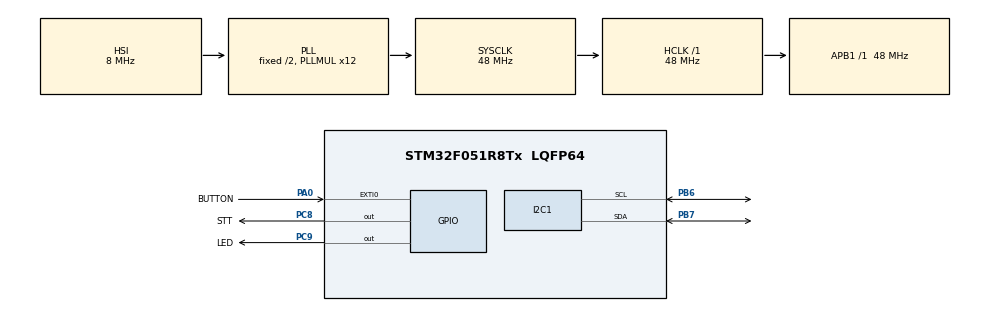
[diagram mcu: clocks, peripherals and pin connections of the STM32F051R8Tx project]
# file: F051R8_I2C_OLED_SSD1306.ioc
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Mcu.Family=STM32F0
Dma.I2C1_TX.0.Instance=DMA1_Channel2
PC9.GPIO_Label=LED
Dma.I2C1_TX.0.PeriphDataAlignment=DMA_PDATAALIGN_BYTE
Dma.I2C1_TX.0.Direction=DMA_MEMORY_TO_PERIPH
PA14.GPIO_Label=SWCLK
PA0.GPIO_Label=BUTTON
PC8.Signal=GPIO_Output
RCC.SYSCLKSource=RCC_SYSCLKSOURCE_PLLCLK
ProjectManager.StackSize=0x400
NVIC.I2C1_IRQn=true\:0\:0\:false\:false\:true\:true\:true
PC8.GPIO_Label=STT
PA13.Signal=SYS_SWDIO
ProjectManager.TargetToolchain=STM32CubeIDE
RCC.HCLKFreq_Value=48000000
PB6.Signal=I2C1_SCL
PB6.Mode=I2C
Dma.I2C1_TX.0.Priority=DMA_PRIORITY_LOW
RCC.AHBFreq_Value=48000000
board=STM32F0DISCOVERY
RCC.PLLMUL=RCC_PLL_MUL12
PA14.Mode=Serial_Wire
PA0.GPIO_ModeDefaultEXTI=GPIO_MODE_EVT_RISING
Dma.I2C1_TX.0.MemInc=DMA_MINC_ENABLE
PB7.Signal=I2C1_SDA
PA13.Mode=Serial_Wire
Mcu.Name=STM32F051R8Tx
PA13.GPIO_Label=SWDIO
PA0.Signal=GPXTI0
RCC.SYSCLKFreq_VALUE=48000000
Dma.I2C1_TX.0.PeriphInc=DMA_PINC_DISABLE
Mcu.Package=LQFP64
PB7.Mode=I2C
PA14.Signal=SYS_SWCLK
ProjectManager.HeapSize=0x200
Dma.I2C1_TX.0.MemDataAlignment=DMA_MDATAALIGN_BYTE
NVIC.DMA1_Channel2_3_IRQn=true\:0\:0\:false\:false\:true\:false\:true
RCC.APB1TimFreq_Value=48000000
Dma.I2C1_TX.0.Mode=DMA_NORMAL
PC9.Signal=GPIO_Output
Dma.Request0=I2C1_TX
RCC.APB1Freq_Value=48000000

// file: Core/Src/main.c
/* USER CODE BEGIN Header */
/**
  ******************************************************************************
  * @file           : main.c
  * @brief          : Main program body
  ******************************************************************************
  * @attention
  *
  * <h2><center>&copy; Copyright (c) 2021 STMicroelectronics.
  * All rights reserved.</center></h2>
  *
  * This software component is licensed by ST under BSD 3-Clause license,
  * the "License"; You may not use this file except in compliance with the
  * License. You may obtain a copy of the License at:
  *                        opensource.org/licenses/BSD-3-Clause
  *
  ******************************************************************************
  */
/* USER CODE END Header */
#include "main.h"

/* USER CODE BEGIN Includes */
#include <stdio.h>
#include <string.h>
#include "ssd1306.h"
#include "test_ssd1306.h"
/* USER CODE END Includes */

/* USER CODE BEGIN PD */
#define USE_I2C_POLLING
//#define USE_I2C_IT
//#define USE_I2C_DMA
/* USER CODE END PD */

I2C_HandleTypeDef hi2c1;
DMA_HandleTypeDef hdma_i2c1_tx;

/* USER CODE BEGIN PV */
char message[16]; // xxx\0
char fps[] = "fps";

// 'Frame1', 80x32px
const unsigned char Frame1 [] = {
  0x00, 0x00, 0x00, 0x00, 0x00, 0x00, 0x00, 0x00, 0x00, 0x00, 0x00, 0x00, 0x00, 0x00, 0x00, 0x00,
  0x00, 0x00, 0x00, 0x00, 0x00, 0x00, 0x00, 0x00, 0x00, 0x00, 0x00, 0x00, 0x00, 0x00, 0x00, 0x00,
  0x00, 0x00, 0x00, 0x00, 0x00, 0x00, 0x00, 0x00, 0x00, 0x00, 0x00, 0x00, 0x00, 0x00, 0x00, 0x00,
  0x00, 0x00, 0x00, 0x00, 0x00, 0x00, 0x00, 0x00, 0x00, 0x00, 0x00, 0x00, 0x00, 0x00, 0x00, 0x00,
  0x00, 0x00, 0x00, 0x00, 0x00, 0x00, 0x00, 0x00, 0x00, 0x00, 0x00, 0x00, 0x00, 0x00, 0x00, 0x00,
  0x00, 0xff, 0xc0, 0x00, 0x00, 0x00, 0x00, 0x00, 0x00, 0x00, 0x00, 0x00, 0xf8, 0x00, 0x00, 0x00,
  0x00, 0xfe, 0x00, 0x00, 0x00, 0x00, 0x1e, 0x00, 0x00, 0x00, 0x01, 0x83, 0x80, 0x00, 0x00, 0x00,
  0x07, 0x00, 0x00, 0x00, 0x03, 0x00, 0xc0, 0x00, 0x00, 0x00, 0x01, 0xc0, 0x00, 0x00, 0x03, 0x0c,
  0x40, 0x00, 0x00, 0x00, 0x00, 0xff, 0xff, 0xff, 0xe1, 0x0c, 0x60, 0x00, 0x00, 0x00, 0x00, 0xf0,
  0x00, 0x1f, 0xff, 0x80, 0x20, 0x00, 0x00, 0x00, 0x01, 0xe0, 0x00, 0x01, 0xf9, 0xe0, 0x20, 0x00,
  0x00, 0x00, 0x03, 0xc0, 0x00, 0x00, 0xcc, 0x78, 0x60, 0x00, 0x00, 0x03, 0xe7, 0x80, 0x00, 0x00,
  0x64, 0x1f, 0xc0, 0x00, 0x00, 0x0e, 0xff, 0x00, 0x00, 0x00, 0x66, 0x00, 0x00, 0x00, 0x00, 0x1c,
  0x0e, 0x00, 0x00, 0x00, 0x33, 0xf0, 0x00, 0x00, 0x00, 0x30, 0xf8, 0x00, 0x00, 0x00, 0x18, 0x1f,
  0xf0, 0x00, 0x00, 0x7f, 0xf0, 0x00, 0x00, 0x00, 0x08, 0x00, 0x00, 0x00, 0x01, 0xfc, 0x00, 0x00,
  0x00, 0x00, 0x0c, 0x00, 0x00, 0x00, 0x03, 0x80, 0x00, 0x00, 0x00, 0x00, 0x06, 0x00, 0x00, 0x00,
  0x07, 0x00, 0x00, 0x00, 0x00, 0x00, 0x03, 0x00, 0x00, 0x00, 0x0e, 0x00, 0x00, 0x00, 0x00, 0x00,
  0x01, 0x86, 0x00, 0x00, 0x0c, 0x00, 0x00, 0x00, 0x00, 0x00, 0x00, 0xcc, 0x00, 0x00, 0x00, 0x00,
  0x00, 0x00, 0x00, 0x00, 0x00, 0x78, 0x00, 0x00, 0x00, 0x00, 0x00, 0x00, 0x00, 0x00, 0x00, 0x00,
  0x00, 0x00, 0x00, 0x00, 0x00, 0x00, 0x00, 0x00, 0x00, 0x00, 0x00, 0x00, 0x00, 0x00, 0x00, 0x00,
  0x00, 0x00, 0x00, 0x00, 0x00, 0x00, 0x00, 0x00, 0x00, 0x00, 0x00, 0x00, 0x00, 0x00, 0x00, 0x00
};
// 'Frame2', 80x32px
const unsigned char Frame2 [] = {
  0x00, 0x00, 0x00, 0x00, 0x00, 0x00, 0x00, 0x00, 0x00, 0x00, 0x00, 0x00, 0x00, 0x00, 0x00, 0x00,
  0x00, 0x00, 0x00, 0x00, 0x00, 0x00, 0x00, 0x00, 0x00, 0x00, 0x00, 0x00, 0x00, 0x00, 0x00, 0x00,
  0x00, 0x00, 0x00, 0x00, 0x00, 0x00, 0x00, 0x00, 0x00, 0x00, 0x00, 0x00, 0x00, 0x00, 0x00, 0x00,
  0x00, 0x00, 0x00, 0x00, 0x00, 0x00, 0x00, 0x00, 0x00, 0x00, 0x00, 0x00, 0x00, 0x00, 0x00, 0x00,
  0x00, 0x00, 0x00, 0x00, 0x00, 0x00, 0x00, 0x3f, 0xc0, 0x00, 0x00, 0x00, 0x00, 0x00, 0x00, 0x00,
  0x00, 0x70, 0xf8, 0x00, 0x00, 0x00, 0x00, 0x00, 0x00, 0x00, 0x00, 0x00, 0x3c, 0x00, 0x00, 0x00,
  0x00, 0x00, 0x00, 0x00, 0x00, 0x00, 0x0e, 0x00, 0x00, 0x00, 0x03, 0x80, 0x00, 0x00, 0x00, 0x00,
  0x03, 0x80, 0x00, 0x00, 0x0f, 0xf0, 0x00, 0x00, 0x00, 0x00, 0x01, 0xc0, 0x00, 0x00, 0x08, 0x18,
  0x00, 0x00, 0x00, 0x00, 0x00, 0xe0, 0x00, 0x00, 0x18, 0x0c, 0x00, 0x00, 0x00, 0x00, 0x00, 0xfe,
  0x00, 0x00, 0x18, 0x66, 0x00, 0x00, 0x00, 0x00, 0x00, 0xdf, 0xf8, 0x00, 0x08, 0x66, 0x00, 0x00,
  0x00, 0x00, 0x01, 0xb8, 0xff, 0xff, 0xfc, 0x02, 0x00, 0x00, 0x00, 0x00, 0x01, 0xb0, 0x01, 0xfe,
  0x06, 0x02, 0x00, 0x00, 0x00, 0x00, 0x03, 0x60, 0x00, 0x32, 0x03, 0x86, 0x00, 0x00, 0x00, 0x03,
  0xff, 0xc0, 0x00, 0x33, 0x80, 0xfc, 0x00, 0x00, 0x00, 0x07, 0x07, 0x80, 0x00, 0x10, 0xe0, 0x01,
  0x00, 0x00, 0x00, 0x7f, 0xff, 0x00, 0x00, 0x10, 0x38, 0x03, 0x00, 0x00, 0x00, 0x7f, 0xfe, 0x00,
  0x00, 0x18, 0x0f, 0x86, 0x00, 0x00, 0x00, 0xc8, 0x00, 0x00, 0x00, 0x08, 0x00, 0xfc, 0x00, 0x00,
  0x01, 0x80, 0x00, 0x00, 0x00, 0x08, 0x00, 0x00, 0x00, 0x00, 0x03, 0x00, 0x00, 0x00, 0x00, 0x0c,
  0x00, 0x00, 0x00, 0x00, 0x02, 0x00, 0x00, 0x00, 0x00, 0x04, 0x00, 0x00, 0x00, 0x00, 0x00, 0x00,
  0x00, 0x00, 0x00, 0x06, 0x00, 0x00, 0x00, 0x00, 0x00, 0x00, 0x00, 0x00, 0x00, 0x02, 0x00, 0x00,
  0x00, 0x00, 0x00, 0x00, 0x00, 0x00, 0x00, 0x03, 0x06, 0x00, 0x00, 0x00, 0x00, 0x00, 0x00, 0x00,
  0x00, 0x01, 0x8c, 0x00, 0x00, 0x00, 0x00, 0x00, 0x00, 0x00, 0x00, 0x00, 0xf8, 0x00, 0x00, 0x00
};
// 'Frame3', 80x32px
const unsigned char Frame3 [] = {
  0x00, 0x00, 0x00, 0x00, 0x00, 0x00, 0x00, 0x00, 0x00, 0x00, 0x00, 0x00, 0x00, 0x00, 0x00, 0x00,
  0x00, 0x00, 0x00, 0x00, 0x00, 0x00, 0x00, 0x00, 0x00, 0x00, 0x00, 0x00, 0x00, 0x00, 0x00, 0x00,
  0x00, 0x00, 0x00, 0x00, 0x00, 0x00, 0x00, 0x00, 0x00, 0x00, 0x00, 0x00, 0x00, 0x00, 0x00, 0x00,
  0x00, 0x00, 0x00, 0x00, 0x00, 0x00, 0x00, 0x00, 0x00, 0x00, 0x00, 0x00, 0x00, 0x00, 0xfe, 0x00,
  0x00, 0x00, 0x00, 0x00, 0x00, 0x00, 0x00, 0x00, 0x0f, 0x80, 0x00, 0x00, 0x00, 0x00, 0x00, 0x00,
  0x00, 0x00, 0x01, 0xe0, 0x00, 0x00, 0x00, 0x00, 0x00, 0x00, 0x00, 0x00, 0x00, 0x70, 0x00, 0x00,
  0x00, 0x00, 0x00, 0x00, 0x00, 0x00, 0x00, 0x3c, 0x00, 0x00, 0x00, 0x00, 0x00, 0x00, 0x00, 0x00,
  0x00, 0x0e, 0x00, 0x00, 0x07, 0xc0, 0x00, 0x00, 0x00, 0x00, 0x00, 0x07, 0x80, 0x00, 0x0c, 0x30,
  0x00, 0x00, 0x00, 0x00, 0x00, 0x03, 0xc0, 0x00, 0x10, 0x08, 0x00, 0x00, 0x00, 0x00, 0x00, 0x02,
  0xf0, 0x00, 0x10, 0x04, 0x00, 0x00, 0x00, 0x00, 0x00, 0x02, 0xbe, 0x00, 0x18, 0x66, 0x00, 0x00,
  0x00, 0x00, 0x00, 0x07, 0x87, 0xc0, 0x08, 0x62, 0x00, 0x00, 0x00, 0x00, 0x00, 0x05, 0x00, 0xff,
  0xfc, 0x02, 0x00, 0x00, 0x00, 0x00, 0x00, 0x05, 0x00, 0x1f, 0x06, 0x02, 0x00, 0x00, 0x00, 0x00,
  0x00, 0x0e, 0x00, 0x09, 0x03, 0x86, 0x00, 0x00, 0x00, 0x00, 0x3f, 0xfe, 0x00, 0x09, 0x00, 0xfc,
  0x00, 0x00, 0x00, 0x00, 0x6f, 0xfc, 0x00, 0x19, 0x80, 0x00, 0x00, 0x00, 0x00, 0x00, 0x58, 0x00,
  0x00, 0x10, 0x80, 0x00, 0x00, 0x00, 0x00, 0x00, 0xe0, 0x00, 0x00, 0x10, 0x80, 0x00, 0x00, 0x00,
  0x00, 0x00, 0xc0, 0x00, 0x00, 0x30, 0xc0, 0x00, 0x00, 0x00, 0x00, 0x01, 0x80, 0x00, 0x00, 0x20,
  0x70, 0x00, 0x00, 0x00, 0x00, 0x00, 0x00, 0x00, 0x00, 0x20, 0x1c, 0x60, 0x00, 0x00, 0x00, 0x00,
  0x00, 0x00, 0x00, 0x60, 0x07, 0xc0, 0x00, 0x00, 0x00, 0x00, 0x00, 0x00, 0x00, 0x40, 0x00, 0x00,
  0x00, 0x00, 0x00, 0x00, 0x00, 0x00, 0x00, 0x40, 0x00, 0x00, 0x00, 0x00, 0x00, 0x00, 0x00, 0x00,
  0x00, 0x6e, 0x00, 0x00, 0x00, 0x00, 0x00, 0x00, 0x00, 0x00, 0x00, 0x30, 0x00, 0x00, 0x00, 0x00
};
// 'Frame4', 80x32px
const unsigned char Frame4 [] = {
  0x00, 0x00, 0x00, 0x00, 0x00, 0x00, 0x00, 0x00, 0x00, 0x00, 0x00, 0x00, 0x00, 0x00, 0x00, 0x00,
  0x00, 0x00, 0x00, 0x00, 0x00, 0x00, 0x00, 0x00, 0x00, 0x00, 0x00, 0x00, 0x00, 0x00, 0x00, 0x00,
  0x00, 0x00, 0x00, 0x00, 0x00, 0x00, 0x00, 0x00, 0x00, 0x00, 0x00, 0x00, 0x00, 0x00, 0x00, 0x00,
  0x00, 0x00, 0x00, 0x00, 0x00, 0x00, 0x00, 0x00, 0x00, 0x00, 0x00, 0x00, 0x00, 0x00, 0x00, 0x00,
  0x00, 0x00, 0x00, 0x00, 0x00, 0x00, 0x00, 0x00, 0x03, 0x80, 0x00, 0x00, 0x00, 0x00, 0x00, 0x00,
  0x00, 0x00, 0x01, 0x80, 0x00, 0x00, 0x00, 0x00, 0x00, 0x00, 0x00, 0x00, 0x00, 0xe0, 0x00, 0x00,
  0x00, 0x00, 0x00, 0x00, 0x00, 0x00, 0x00, 0x38, 0x00, 0x00, 0x00, 0x00, 0x00, 0x00, 0x00, 0x00,
  0x00, 0x0e, 0x00, 0x00, 0x00, 0x00, 0x00, 0x00, 0x00, 0x00, 0x00, 0x03, 0x80, 0x00, 0x07, 0xe0,
  0x00, 0x00, 0x00, 0x00, 0x00, 0x00, 0xf0, 0x00, 0x0c, 0x38, 0x00, 0x00, 0x00, 0x00, 0x00, 0x00,
  0x3f, 0x00, 0x18, 0x0c, 0x00, 0x00, 0x00, 0x00, 0x00, 0x00, 0x0f, 0xe0, 0x10, 0x66, 0x00, 0x00,
  0x00, 0x00, 0x00, 0x00, 0x0c, 0x3e, 0x10, 0x62, 0x00, 0x00, 0x00, 0x00, 0x00, 0x00, 0x0c, 0x07,
  0xf0, 0x02, 0x00, 0x00, 0x00, 0x00, 0x00, 0x00, 0x0e, 0x00, 0xd8, 0x02, 0x00, 0x00, 0x00, 0x00,
  0x00, 0x00, 0x0a, 0x03, 0xce, 0x06, 0x00, 0x00, 0x00, 0x00, 0x00, 0x00, 0x0a, 0x06, 0x83, 0x84,
  0x00, 0x00, 0x00, 0x00, 0x00, 0x00, 0x7e, 0x0d, 0x80, 0x78, 0x00, 0x00, 0x00, 0x00, 0x00, 0x01,
  0xcc, 0x39, 0x00, 0x00, 0x00, 0x00, 0x00, 0x00, 0x00, 0x03, 0xf8, 0x61, 0x00, 0x00, 0x00, 0x00,
  0x00, 0x00, 0x00, 0x0f, 0x80, 0xc3, 0x00, 0x00, 0x00, 0x00, 0x00, 0x00, 0x00, 0x09, 0x03, 0x82,
  0x00, 0x00, 0x00, 0x00, 0x00, 0x00, 0x00, 0x00, 0x06, 0x02, 0x00, 0x00, 0x00, 0x00, 0x00, 0x00,
  0x00, 0x00, 0x0c, 0x02, 0x00, 0x00, 0x00, 0x00, 0x00, 0x00, 0x00, 0x00, 0x38, 0x02, 0x00, 0x00,
  0x00, 0x00, 0x00, 0x00, 0x00, 0x00, 0x70, 0x03, 0x00, 0x00, 0x00, 0x00, 0x00, 0x00, 0x00, 0x00,
  0x60, 0x01, 0x80, 0x00, 0x00, 0x00, 0x00, 0x00, 0x00, 0x00, 0x78, 0x00, 0xe0, 0x00, 0x00, 0x00
};
// 'Frame5', 80x32px
const unsigned char Frame5 [] = {
  0x00, 0x00, 0x00, 0x00, 0x00, 0x00, 0x00, 0x00, 0x00, 0x00, 0x00, 0x00, 0x00, 0x00, 0x00, 0x00,
  0x00, 0x00, 0x00, 0x00, 0x00, 0x00, 0x00, 0x00, 0x00, 0x00, 0x00, 0x00, 0x00, 0x00, 0x00, 0x00,
  0x00, 0x00, 0x00, 0x00, 0x00, 0x00, 0x00, 0x00, 0x00, 0x00, 0x00, 0x00, 0x00, 0x00, 0x00, 0x00,
  0x00, 0x00, 0x00, 0x00, 0x00, 0x00, 0x00, 0x00, 0x00, 0x00, 0x00, 0x00, 0x00, 0x00, 0x00, 0x00,
  0x00, 0x00, 0x00, 0x00, 0x00, 0x00, 0x00, 0x00, 0x00, 0x00, 0x00, 0x00, 0x00, 0x00, 0x00, 0x00,
  0x00, 0x00, 0x00, 0x00, 0x00, 0x00, 0x00, 0x00, 0x00, 0x00, 0x00, 0x00, 0x00, 0x00, 0x00, 0x00,
  0x00, 0x00, 0x00, 0x00, 0x00, 0x00, 0x00, 0x00, 0x00, 0x00, 0x00, 0x00, 0x00, 0x00, 0x00, 0x00,
  0x00, 0x00, 0x00, 0x00, 0x00, 0x00, 0x00, 0x00, 0x00, 0x00, 0x08, 0x00, 0x00, 0x00, 0x03, 0xf8,
  0x00, 0x00, 0x00, 0x00, 0x0c, 0x00, 0x00, 0xff, 0x0c, 0x06, 0x00, 0x00, 0x00, 0x00, 0x04, 0x00,
  0x03, 0x83, 0xc8, 0x03, 0x00, 0x00, 0x00, 0x00, 0x03, 0x00, 0x06, 0x00, 0xf8, 0x19, 0x00, 0x00,
  0x00, 0x00, 0x01, 0xc0, 0x0c, 0x00, 0xd8, 0x19, 0x80, 0x00, 0x00, 0x00, 0x00, 0x70, 0x18, 0x00,
  0x88, 0x00, 0x80, 0x00, 0x00, 0x00, 0x00, 0x1f, 0xf8, 0x00, 0x8e, 0x00, 0x80, 0x00, 0x00, 0x00,
  0x00, 0x00, 0x1c, 0x01, 0x83, 0x07, 0x00, 0x00, 0x00, 0x00, 0x00, 0x00, 0x0f, 0x01, 0x00, 0xfc,
  0x00, 0x00, 0x00, 0x00, 0x00, 0x00, 0x07, 0xc7, 0x00, 0x00, 0x00, 0x00, 0x00, 0x00, 0x00, 0x00,
  0x02, 0x5e, 0x00, 0x00, 0x00, 0x00, 0x00, 0x00, 0x00, 0x00, 0x03, 0x56, 0x00, 0x00, 0x00, 0x00,
  0x00, 0x00, 0x00, 0x00, 0x01, 0x76, 0x00, 0x00, 0x00, 0x00, 0x00, 0x00, 0x00, 0x00, 0x01, 0xe4,
  0x00, 0x00, 0x00, 0x00, 0x00, 0x00, 0x00, 0x00, 0x01, 0x8c, 0x00, 0x00, 0x00, 0x00, 0x00, 0x00,
  0x00, 0x00, 0x03, 0x08, 0x00, 0x00, 0x00, 0x00, 0x00, 0x00, 0x00, 0x00, 0x06, 0x08, 0x00, 0x00,
  0x00, 0x00, 0x00, 0x00, 0x00, 0x00, 0x04, 0x08, 0x00, 0x00, 0x00, 0x00, 0x00, 0x00, 0x00, 0x00,
  0x0c, 0x08, 0x00, 0x00, 0x00, 0x00, 0x00, 0x00, 0x00, 0x00, 0x08, 0x00, 0x00, 0x00, 0x00, 0x00
};
// 'Frame6', 80x32px
const unsigned char Frame6 [] = {
  0x00, 0x00, 0x00, 0x00, 0x00, 0x00, 0x00, 0x00, 0x00, 0x00, 0x00, 0x00, 0x00, 0x00, 0x00, 0x00,
  0x00, 0x00, 0x00, 0x00, 0x00, 0x00, 0x00, 0x00, 0x00, 0x00, 0x00, 0x00, 0x00, 0x00, 0x00, 0x00,
  0x00, 0x00, 0x00, 0x00, 0x00, 0x00, 0x00, 0x00, 0x00, 0x00, 0x00, 0x00, 0x00, 0x00, 0x00, 0x00,
  0x00, 0x00, 0x00, 0x00, 0x00, 0x00, 0x00, 0x00, 0x00, 0x00, 0x00, 0x00, 0x00, 0x00, 0x00, 0x00,
  0x00, 0x00, 0x00, 0x00, 0x00, 0x00, 0x00, 0x00, 0x00, 0x00, 0x00, 0x00, 0x00, 0x00, 0x00, 0x00,
  0x00, 0x00, 0x00, 0x00, 0x3f, 0x00, 0x00, 0x00, 0x00, 0x00, 0x00, 0x00, 0x00, 0x00, 0x61, 0xc0,
  0x00, 0x00, 0x00, 0x00, 0x00, 0x00, 0x00, 0x00, 0x80, 0x60, 0x00, 0x00, 0x00, 0x00, 0x00, 0x00,
  0x00, 0x01, 0x00, 0x30, 0xff, 0x00, 0x00, 0x00, 0x00, 0x00, 0x00, 0x02, 0x00, 0x19, 0x81, 0xc0,
  0x00, 0x00, 0x00, 0x00, 0x00, 0x02, 0x00, 0x1f, 0x00, 0x60, 0x00, 0x00, 0x00, 0x00, 0x00, 0x06,
  0x00, 0x7e, 0x06, 0x20, 0x00, 0x00, 0x00, 0x00, 0x00, 0x04, 0x00, 0xd2, 0x06, 0x20, 0x00, 0x00,
  0x00, 0x10, 0x00, 0x08, 0x01, 0x92, 0x00, 0x60, 0x00, 0x00, 0x00, 0x10, 0x00, 0x08, 0x01, 0x33,
  0x00, 0xc0, 0x00, 0x00, 0x00, 0x18, 0x00, 0x18, 0x03, 0x61, 0xe3, 0x00, 0x00, 0x00, 0x00, 0x0c,
  0x00, 0x10, 0x03, 0xc0, 0x3c, 0x00, 0x00, 0x00, 0x00, 0x06, 0x00, 0x1f, 0x86, 0xc0, 0x00, 0x00,
  0x00, 0x00, 0x00, 0x03, 0x00, 0x7c, 0xfe, 0x80, 0x00, 0x00, 0x00, 0x00, 0x00, 0x01, 0xc1, 0xc7,
  0xe5, 0x80, 0x00, 0x00, 0x00, 0x00, 0x00, 0x00, 0x7f, 0x80, 0x3f, 0x00, 0x00, 0x00, 0x00, 0x00,
  0x00, 0x00, 0x00, 0x00, 0x1b, 0x99, 0x00, 0x00, 0x00, 0x00, 0x00, 0x00, 0x00, 0x00, 0x3e, 0xf3,
  0x00, 0x00, 0x00, 0x00, 0x00, 0x00, 0x00, 0x00, 0x37, 0xc6, 0x00, 0x00, 0x00, 0x00, 0x00, 0x00,
  0x00, 0x00, 0xdb, 0xec, 0x00, 0x00, 0x00, 0x00, 0x00, 0x00, 0x00, 0x00, 0xf0, 0xb8, 0x00, 0x00,
  0x00, 0x00, 0x00, 0x00, 0x00, 0x01, 0x60, 0x00, 0x00, 0x00, 0x00, 0x00, 0x00, 0x00, 0x00, 0x03,
  0x40, 0x00, 0x00, 0x00, 0x00, 0x00, 0x00, 0x00, 0x00, 0x03, 0x80, 0x00, 0x00, 0x00, 0x00, 0x00
};
// 'Frame7', 80x32px
const unsigned char Frame7 [] = {
  0x00, 0x00, 0x00, 0x00, 0x00, 0x00, 0x00, 0x00, 0x00, 0x00, 0x00, 0x00, 0x00, 0x00, 0x00, 0x00,
  0x00, 0x00, 0x00, 0x00, 0x00, 0x00, 0x00, 0x00, 0x00, 0x00, 0x00, 0x00, 0x00, 0x00, 0x00, 0x00,
  0x00, 0x00, 0x00, 0x00, 0x00, 0x00, 0x00, 0x00, 0x00, 0x00, 0x00, 0x00, 0x00, 0x00, 0x00, 0x00,
  0x00, 0x00, 0x00, 0x00, 0x00, 0x00, 0x00, 0x00, 0x00, 0x00, 0x00, 0x00, 0x00, 0x00, 0x00, 0x00,
  0x00, 0x00, 0x00, 0x00, 0x00, 0x00, 0x00, 0x00, 0x00, 0x00, 0x00, 0x00, 0x00, 0x00, 0x00, 0x00,
  0x00, 0x00, 0x00, 0x00, 0x00, 0x00, 0x00, 0x00, 0x00, 0x00, 0x00, 0x00, 0x00, 0x00, 0x00, 0x3f,
  0xe0, 0x7f, 0x80, 0x00, 0x00, 0x00, 0x00, 0x00, 0x00, 0xe0, 0x79, 0x80, 0x40, 0x00, 0x00, 0x00,
  0x00, 0x00, 0x01, 0xc0, 0x1d, 0x00, 0x20, 0x00, 0x00, 0x00, 0x00, 0x00, 0x03, 0x00, 0x3f, 0x03,
  0x10, 0x00, 0x00, 0x00, 0x00, 0x00, 0x06, 0x00, 0x67, 0x03, 0x10, 0x00, 0x00, 0x00, 0x00, 0x00,
  0x0c, 0x00, 0xc5, 0x80, 0x10, 0x00, 0x00, 0x00, 0x00, 0x00, 0x08, 0x01, 0x84, 0xc0, 0x60, 0x00,
  0x00, 0x00, 0x00, 0x00, 0x18, 0x03, 0x04, 0x7f, 0x80, 0x00, 0x00, 0x00, 0x00, 0x00, 0x30, 0x02,
  0x04, 0x00, 0x00, 0x00, 0x00, 0x00, 0xc0, 0x00, 0x30, 0x01, 0x04, 0x00, 0x00, 0x00, 0x00, 0x00,
  0x70, 0x00, 0xf0, 0x01, 0x04, 0x00, 0x00, 0x00, 0x00, 0x00, 0x1f, 0x0f, 0xfc, 0x01, 0x8c, 0x00,
  0x00, 0x00, 0x00, 0x00, 0x01, 0xf8, 0x3e, 0x00, 0x88, 0x00, 0x00, 0x00, 0x00, 0x00, 0x00, 0x00,
  0x37, 0x00, 0x98, 0x00, 0x00, 0x00, 0x00, 0x00, 0x00, 0x00, 0x21, 0x03, 0x10, 0x00, 0x00, 0x00,
  0x00, 0x00, 0x00, 0x00, 0x21, 0x86, 0x60, 0x00, 0x00, 0x00, 0x00, 0x00, 0x00, 0x00, 0x20, 0xc0,
  0xc0, 0x00, 0x00, 0x00, 0x00, 0x00, 0x00, 0x00, 0x30, 0x43, 0x80, 0x00, 0x00, 0x00, 0x00, 0x00,
  0x00, 0x00, 0x13, 0x60, 0x00, 0x00, 0x00, 0x00, 0x00, 0x00, 0x00, 0x00, 0x0e, 0x32, 0x00, 0x00,
  0x00, 0x00, 0x00, 0x00, 0x00, 0x00, 0x00, 0x1c, 0x00, 0x00, 0x00, 0x00, 0x00, 0x00, 0x00, 0x00,
  0x00, 0x00, 0x00, 0x00, 0x00, 0x00, 0x00, 0x00, 0x00, 0x00, 0x00, 0x00, 0x00, 0x00, 0x00, 0x00
};
// 'Frame8', 80x32px
const unsigned char Frame8 [] = {
  0x00, 0x00, 0x00, 0x00, 0x00, 0x00, 0x00, 0x00, 0x00, 0x00, 0x00, 0x00, 0x00, 0x00, 0x00, 0x00,
  0x00, 0x00, 0x00, 0x00, 0x00, 0x00, 0x00, 0x00, 0x00, 0x00, 0x00, 0x00, 0x00, 0x00, 0x00, 0x00,
  0x00, 0x00, 0x00, 0x00, 0x00, 0x00, 0x00, 0x00, 0x00, 0x00, 0x00, 0x00, 0x00, 0x00, 0x00, 0x00,
  0x00, 0x00, 0x00, 0x00, 0x00, 0x00, 0x00, 0x00, 0x00, 0x07, 0xf0, 0x00, 0x00, 0x00, 0x00, 0x00,
  0x00, 0x00, 0x00, 0x08, 0x0c, 0x00, 0x00, 0x00, 0x00, 0x00, 0x00, 0x00, 0x00, 0x18, 0x06, 0x00,
  0x00, 0x00, 0x00, 0x00, 0x00, 0x00, 0x00, 0x10, 0x62, 0x00, 0x00, 0x00, 0x00, 0x00, 0x00, 0x00,
  0xff, 0xf0, 0x61, 0x00, 0x00, 0x00, 0x00, 0x00, 0x00, 0x03, 0xe3, 0x30, 0x03, 0x00, 0x00, 0x00,
  0x00, 0x00, 0x00, 0x1f, 0x04, 0x18, 0x02, 0x00, 0x00, 0x00, 0x00, 0x00, 0x00, 0x70, 0x18, 0x1f,
  0xfc, 0x00, 0x00, 0x00, 0x00, 0x00, 0x01, 0xc0, 0x60, 0x06, 0x00, 0x00, 0x00, 0x00, 0x00, 0x00,
  0x0f, 0x00, 0xc0, 0x01, 0x80, 0x00, 0x00, 0x00, 0x00, 0x00, 0x0c, 0x00, 0xe0, 0x00, 0x80, 0x00,
  0x00, 0x00, 0x03, 0xff, 0xf8, 0x00, 0x38, 0x01, 0x80, 0x00, 0x00, 0x00, 0x1e, 0x00, 0xf0, 0x00,
  0x1e, 0x01, 0x00, 0x00, 0x00, 0x00, 0x78, 0x01, 0xf0, 0x00, 0x03, 0xc3, 0x00, 0x00, 0x00, 0x00,
  0xc0, 0x03, 0x30, 0x00, 0x00, 0x82, 0x00, 0x00, 0x00, 0x00, 0x00, 0x06, 0x30, 0x00, 0x01, 0x02,
  0x00, 0x00, 0x00, 0x00, 0x00, 0x0c, 0x20, 0x00, 0x06, 0x00, 0x00, 0x00, 0x00, 0x00, 0x00, 0x18,
  0x20, 0x00, 0x00, 0x00, 0x00, 0x00, 0x00, 0x00, 0x00, 0x30, 0x20, 0x00, 0x00, 0x00, 0x00, 0x00,
  0x00, 0x00, 0x00, 0xe0, 0x20, 0x00, 0x00, 0x00, 0x00, 0x00, 0x00, 0x00, 0x03, 0x80, 0x20, 0x00,
  0x00, 0x00, 0x00, 0x00, 0x00, 0x00, 0x02, 0x00, 0x20, 0x00, 0x00, 0x00, 0x00, 0x00, 0x00, 0x00,
  0x0c, 0x00, 0x20, 0x00, 0x00, 0x00, 0x00, 0x00, 0x00, 0x00, 0x38, 0x00, 0x20, 0x00, 0x00, 0x00,
  0x00, 0x00, 0x00, 0x00, 0x20, 0x00, 0x20, 0x00, 0x00, 0x00, 0x00, 0x00, 0x00, 0x00, 0x20, 0x00,
  0x20, 0x00, 0x00, 0x00, 0x00, 0x00, 0x00, 0x00, 0x3f, 0x00, 0x3f, 0x80, 0x00, 0x00, 0x00, 0x00
};
// 'Frame9', 80x32px
const unsigned char Frame9 [] = {
  0x00, 0x00, 0x00, 0x00, 0x00, 0x00, 0x00, 0x00, 0x00, 0x00, 0x00, 0x00, 0x00, 0x00, 0x00, 0x00,
  0x00, 0x00, 0x00, 0x00, 0x00, 0x00, 0x00, 0x00, 0x00, 0x00, 0x00, 0x00, 0x00, 0x00, 0x00, 0x00,
  0x00, 0x00, 0x00, 0x00, 0x00, 0x00, 0x00, 0x00, 0x00, 0x00, 0x00, 0x00, 0x00, 0x00, 0x00, 0x00,
  0x00, 0x00, 0x00, 0x00, 0x00, 0x00, 0x00, 0x00, 0x00, 0x00, 0x00, 0x00, 0x00, 0x00, 0x00, 0x00,
  0x00, 0x00, 0x00, 0x00, 0x00, 0x00, 0x00, 0x00, 0x00, 0x00, 0x00, 0x00, 0x00, 0x0f, 0xf0, 0x00,
  0x00, 0x00, 0x00, 0x00, 0x00, 0x00, 0x00, 0x18, 0x08, 0x00, 0x00, 0x00, 0x00, 0x00, 0x00, 0x00,
  0x00, 0x10, 0x04, 0x00, 0x00, 0x00, 0x00, 0x00, 0x00, 0x00, 0x00, 0x10, 0x32, 0x00, 0x00, 0x00,
  0x00, 0x00, 0x00, 0x7f, 0xff, 0xf8, 0x32, 0x00, 0x00, 0x00, 0x00, 0x00, 0x07, 0xe0, 0x03, 0x88,
  0x02, 0x00, 0x00, 0x01, 0xff, 0x00, 0x3e, 0x00, 0x02, 0xc4, 0x02, 0x00, 0x00, 0x0f, 0x01, 0xf8,
  0xe0, 0x00, 0x06, 0x62, 0x02, 0x00, 0x00, 0x00, 0x00, 0x1f, 0xc0, 0x00, 0x04, 0x39, 0xfc, 0x00,
  0x00, 0x00, 0x00, 0x07, 0x00, 0x00, 0x0c, 0x0e, 0x00, 0x00, 0x00, 0x00, 0x00, 0x1e, 0x00, 0x00,
  0x07, 0xc1, 0x00, 0x00, 0x00, 0x00, 0x00, 0x3c, 0x00, 0x00, 0x00, 0x78, 0x80, 0x00, 0x00, 0x00,
  0x00, 0x6c, 0x00, 0x00, 0x00, 0x0f, 0x80, 0x00, 0x00, 0x00, 0x00, 0xc8, 0x00, 0x00, 0x00, 0x01,
  0x40, 0x00, 0x00, 0x00, 0x03, 0x98, 0x00, 0x00, 0x00, 0x01, 0x40, 0x00, 0x00, 0x00, 0x0e, 0x30,
  0x00, 0x00, 0x00, 0x01, 0x60, 0x00, 0x00, 0x00, 0xf8, 0x60, 0x00, 0x00, 0x00, 0x00, 0x00, 0x00,
  0x00, 0x01, 0x81, 0xc0, 0x00, 0x00, 0x00, 0x00, 0x00, 0x00, 0x00, 0x01, 0x03, 0x00, 0x00, 0x00,
  0x00, 0x00, 0x00, 0x00, 0x00, 0x01, 0x06, 0x00, 0x00, 0x00, 0x00, 0x00, 0x00, 0x00, 0x00, 0x00,
  0x04, 0x00, 0x00, 0x00, 0x00, 0x00, 0x00, 0x00, 0x00, 0x00, 0x0c, 0x00, 0x00, 0x00, 0x00, 0x00,
  0x00, 0x00, 0x00, 0x00, 0x0c, 0x00, 0x00, 0x00, 0x00, 0x00, 0x00, 0x00, 0x00, 0x00, 0x04, 0x00,
  0x00, 0x00, 0x00, 0x00, 0x00, 0x00, 0x00, 0x00, 0x00, 0x00, 0x00, 0x00, 0x00, 0x00, 0x00, 0x00
};
// 'Frame10', 80x32px
const unsigned char Frame10 [] = {
  0x00, 0x00, 0x00, 0x00, 0x00, 0x00, 0x00, 0x00, 0x00, 0x00, 0x00, 0x00, 0x00, 0x00, 0x00, 0x00,
  0x00, 0x00, 0x00, 0x00, 0x00, 0x00, 0x00, 0x00, 0x00, 0x00, 0x00, 0x00, 0x00, 0x00, 0x00, 0x00,
  0x00, 0x00, 0x00, 0x00, 0x00, 0x00, 0x00, 0x00, 0x00, 0x00, 0x00, 0x00, 0x00, 0x00, 0x00, 0x00,
  0x00, 0x00, 0x00, 0x00, 0x00, 0x00, 0x00, 0x00, 0x00, 0x00, 0x00, 0x00, 0x00, 0x00, 0x00, 0x00,
  0x00, 0x00, 0x00, 0x00, 0x00, 0x00, 0x00, 0x00, 0x00, 0x00, 0x00, 0x00, 0x00, 0x00, 0x00, 0x00,
  0x00, 0x00, 0x00, 0x00, 0x00, 0x00, 0x00, 0x03, 0xe0, 0x00, 0x00, 0x7f, 0xc0, 0x00, 0x00, 0x00,
  0x00, 0x0c, 0x18, 0x00, 0x00, 0x00, 0x78, 0x00, 0x00, 0x00, 0x00, 0x08, 0x04, 0x00, 0x00, 0x00,
  0x1e, 0x00, 0x1f, 0xff, 0xf0, 0x10, 0x62, 0x00, 0x00, 0x00, 0x03, 0xc1, 0xf8, 0x00, 0x1f, 0xf8,
  0x62, 0x00, 0x00, 0x00, 0x00, 0x7f, 0x00, 0x00, 0x01, 0xd8, 0x02, 0x00, 0x00, 0x00, 0x00, 0x78,
  0x00, 0x00, 0x00, 0xc4, 0x02, 0x00, 0x00, 0x00, 0x00, 0xe0, 0x00, 0x00, 0x00, 0x63, 0x84, 0x00,
  0x00, 0x00, 0x01, 0xc0, 0x00, 0x00, 0x00, 0x70, 0xf8, 0x00, 0x00, 0x03, 0xff, 0x80, 0x00, 0x00,
  0x00, 0x0c, 0xc0, 0x00, 0x00, 0x1c, 0x06, 0x00, 0x00, 0x00, 0x00, 0x06, 0x3e, 0x00, 0x00, 0x30,
  0x1c, 0x00, 0x00, 0x00, 0x00, 0x03, 0x01, 0x80, 0x00, 0x00, 0x70, 0x00, 0x00, 0x00, 0x00, 0x01,
  0x80, 0x40, 0x00, 0x03, 0xc0, 0x00, 0x00, 0x00, 0x00, 0x00, 0x40, 0x40, 0x00, 0x0e, 0x00, 0x00,
  0x00, 0x00, 0x00, 0x00, 0x30, 0x00, 0x00, 0x78, 0x00, 0x00, 0x00, 0x00, 0x00, 0x00, 0x1c, 0x00,
  0x03, 0xc0, 0x00, 0x00, 0x00, 0x00, 0x00, 0x00, 0x00, 0x00, 0x06, 0x00, 0x00, 0x00, 0x00, 0x00,
  0x00, 0x00, 0x00, 0x00, 0x0c, 0x00, 0x00, 0x00, 0x00, 0x00, 0x00, 0x00, 0x00, 0x00, 0x08, 0x00,
  0x00, 0x00, 0x00, 0x00, 0x00, 0x00, 0x00, 0x00, 0x00, 0x00, 0x00, 0x00, 0x00, 0x00, 0x00, 0x00,
  0x00, 0x00, 0x00, 0x00, 0x00, 0x00, 0x00, 0x00, 0x00, 0x00, 0x00, 0x00, 0x00, 0x00, 0x00, 0x00,
  0x00, 0x00, 0x00, 0x00, 0x00, 0x00, 0x00, 0x00, 0x00, 0x00, 0x00, 0x00, 0x00, 0x00, 0x00, 0x00
};

const unsigned char * frames[] = {
    Frame1, Frame2, Frame3, Frame4, Frame5, Frame6, Frame7, Frame8, Frame9, Frame10
};

// animation loop
uint8_t b = 1;
int16_t m = 70;
int16_t x = SSD1306_WIDTH;
int16_t s = 0;
int16_t w = 0;
int16_t h = 0;
/* USER CODE END PV */

void SystemClock_Config(void);
static void MX_GPIO_Init(void);
static void MX_DMA_Init(void);
static void MX_I2C1_Init(void);

/* USER CODE BEGIN 0 */
void HAL_IncTick(void) {
  uwTick += uwTickFreq;
  SSD1306_1sec_Tick();
}

void Update_Main_Screen() {
  SSD1306_Clear();
  SSD1306_SetMask(0, 0, SSD1306_WIDTH, SSD1306_HEIGHT);

  // draw an animation frame
   SSD1306_DrawBitmap(0, 0, frames[b%10], 80, 32, SSD1306_WHITE, SSD1306_TRANSPARENT);
   b++;

  // draw frame rate
  sprintf(message, "%d", SSD1306.FPS);
  SSD1306_WriteString(80, 0, message, &Font_11x18, SSD1306_WHITE, SSD1306_TRANSPARENT);

  w = Font_GetStringWidth(message, &Font_11x18);
  SSD1306_WriteString(80+w, 0, fps, &Font_7x10, SSD1306_WHITE, SSD1306_TRANSPARENT);

  // draw a scrolling text
  sprintf(message, "%2d scrolling", b/10);
  h = Font_GetStringHeight(message, &Font_11x18)+4;
  SSD1306_SetMask(m, h, SSD1306_WIDTH, h+Font_7x10.height); // text is only visible inside this mask
  SSD1306_WriteString(x, h, message, &Font_7x10, SSD1306_WHITE, SSD1306_TRANSPARENT);

  // scroll text
  w = Font_GetStringWidth(message, &Font_7x10);
  // effect: pause scrolling in one second
  if(x==m+10) {
    s++;
    if (s > SSD1306.FPS) {
      s = 0;
      x--;
    }
  } else {
    x--;
    if(x < m-w) x = SSD1306_WIDTH;
  }
}

void HAL_I2C_MasterTxCpltCallback(I2C_HandleTypeDef *hi2c) {
  Update_Main_Screen();
#ifdef USE_I2C_IT
  SSD1306_Screen_Update_IT(&hi2c1);
  HAL_GPIO_TogglePin(LED_GPIO_Port, LED_Pin);
#endif
#ifdef USE_I2C_DMA
  SSD1306_Screen_Update_DMA(&hi2c1);
  HAL_GPIO_TogglePin(STT_GPIO_Port, STT_Pin);
#endif
}
/* USER CODE END 0 */

int main(void)
{

  /* MCU Configuration--------------------------------------------------------*/

  /* Reset of all peripherals, Initializes the Flash interface and the Systick. */
  HAL_Init();

  /* Configure the system clock */
  SystemClock_Config();

  /* Initialize all configured peripherals */
  MX_GPIO_Init();
  MX_DMA_Init();
  MX_I2C1_Init();
  /* USER CODE BEGIN 2 */
  HAL_Delay(10);
  SSD1306_Init(&hi2c1);
  /* USER CODE END 2 */

  /* Infinite loop */
  /* USER CODE BEGIN WHILE */
  TestLines(&hi2c1, SSD1306_WHITE);
    HAL_Delay(500);
    TestRectangles(&hi2c1, SSD1306_WHITE);
    HAL_Delay(500);
    TestFilledRectangles(&hi2c1, SSD1306_WHITE);
    HAL_Delay(500);
    TestCircles(&hi2c1, 6, SSD1306_WHITE);
    HAL_Delay(500);
    TestFilledCircles(&hi2c1, 6, SSD1306_WHITE);
    HAL_Delay(500);
    TestTriangles(&hi2c1, SSD1306_WHITE);
    HAL_Delay(500);
    TestDynamicBackground(&hi2c1, SSD1306_WHITE);
    HAL_Delay(500);

  #ifdef USE_I2C_IT
    SSD1306_Screen_Update_IT(&hi2c1);
  #endif
  #ifdef USE_I2C_DMA
    SSD1306_Screen_Update_DMA(&hi2c1);
  #endif

    while(1)
    {
  #ifdef USE_I2C_POLLING
      Update_Main_Screen();
      SSD1306_Screen_Update(&hi2c1);
      HAL_GPIO_TogglePin(LED_GPIO_Port, LED_Pin);
      HAL_GPIO_TogglePin(STT_GPIO_Port, STT_Pin);
  #endif
  #ifdef USE_I2C_IT
      HAL_Delay(1000);
  #endif
    /* USER CODE END WHILE */

  }
}

void SystemClock_Config(void)
{
  RCC_OscInitTypeDef RCC_OscInitStruct = {0};
  RCC_ClkInitTypeDef RCC_ClkInitStruct = {0};
  RCC_PeriphCLKInitTypeDef PeriphClkInit = {0};

  /** Initializes the RCC Oscillators according to the specified parameters
  * in the RCC_OscInitTypeDef structure.
  */
  RCC_OscInitStruct.OscillatorType = RCC_OSCILLATORTYPE_HSI;
  RCC_OscInitStruct.HSIState = RCC_HSI_ON;
  RCC_OscInitStruct.HSICalibrationValue = RCC_HSICALIBRATION_DEFAULT;
  RCC_OscInitStruct.PLL.PLLState = RCC_PLL_ON;
  RCC_OscInitStruct.PLL.PLLSource = RCC_PLLSOURCE_HSI;
  RCC_OscInitStruct.PLL.PLLMUL = RCC_PLL_MUL12;
  RCC_OscInitStruct.PLL.PREDIV = RCC_PREDIV_DIV1;
  if (HAL_RCC_OscConfig(&RCC_OscInitStruct) != HAL_OK)
  {
    Error_Handler();
  }
  /** Initializes the CPU, AHB and APB buses clocks
  */
  RCC_ClkInitStruct.ClockType = RCC_CLOCKTYPE_HCLK|RCC_CLOCKTYPE_SYSCLK
                              |RCC_CLOCKTYPE_PCLK1;
  RCC_ClkInitStruct.SYSCLKSource = RCC_SYSCLKSOURCE_PLLCLK;
  RCC_ClkInitStruct.AHBCLKDivider = RCC_SYSCLK_DIV1;
  RCC_ClkInitStruct.APB1CLKDivider = RCC_HCLK_DIV1;

  if (HAL_RCC_ClockConfig(&RCC_ClkInitStruct, FLASH_LATENCY_1) != HAL_OK)
  {
    Error_Handler();
  }
  PeriphClkInit.PeriphClockSelection = RCC_PERIPHCLK_I2C1;
  PeriphClkInit.I2c1ClockSelection = RCC_I2C1CLKSOURCE_HSI;
  if (HAL_RCCEx_PeriphCLKConfig(&PeriphClkInit) != HAL_OK)
  {
    Error_Handler();
  }
}

static void MX_I2C1_Init(void)
{

  hi2c1.Instance = I2C1;
  hi2c1.Init.Timing = 0x2000090E;
  hi2c1.Init.OwnAddress1 = 0;
  hi2c1.Init.AddressingMode = I2C_ADDRESSINGMODE_7BIT;
  hi2c1.Init.DualAddressMode = I2C_DUALADDRESS_DISABLE;
  hi2c1.Init.OwnAddress2 = 0;
  hi2c1.Init.OwnAddress2Masks = I2C_OA2_NOMASK;
  hi2c1.Init.GeneralCallMode = I2C_GENERALCALL_DISABLE;
  hi2c1.Init.NoStretchMode = I2C_NOSTRETCH_DISABLE;
  if (HAL_I2C_Init(&hi2c1) != HAL_OK)
  {
    Error_Handler();
  }
  /** Configure Analogue filter
  */
  if (HAL_I2CEx_ConfigAnalogFilter(&hi2c1, I2C_ANALOGFILTER_ENABLE) != HAL_OK)
  {
    Error_Handler();
  }
  /** Configure Digital filter
  */
  if (HAL_I2CEx_ConfigDigitalFilter(&hi2c1, 0) != HAL_OK)
  {
    Error_Handler();
  }

}

static void MX_DMA_Init(void)
{

  /* DMA controller clock enable */
  __HAL_RCC_DMA1_CLK_ENABLE();

  /* DMA interrupt init */
  /* DMA1_Channel2_3_IRQn interrupt configuration */
  HAL_NVIC_SetPriority(DMA1_Channel2_3_IRQn, 0, 0);
  HAL_NVIC_EnableIRQ(DMA1_Channel2_3_IRQn);

}

static void MX_GPIO_Init(void)
{
  GPIO_InitTypeDef GPIO_InitStruct = {0};

  /* GPIO Ports Clock Enable */
  __HAL_RCC_GPIOA_CLK_ENABLE();
  __HAL_RCC_GPIOC_CLK_ENABLE();
  __HAL_RCC_GPIOB_CLK_ENABLE();

  /*Configure GPIO pin Output Level */
  HAL_GPIO_WritePin(GPIOC, STT_Pin|LED_Pin, GPIO_PIN_RESET);

  /*Configure GPIO pin : BUTTON_Pin */
  GPIO_InitStruct.Pin = BUTTON_Pin;
  GPIO_InitStruct.Mode = GPIO_MODE_EVT_RISING;
  GPIO_InitStruct.Pull = GPIO_NOPULL;
  HAL_GPIO_Init(BUTTON_GPIO_Port, &GPIO_InitStruct);

  /*Configure GPIO pins : STT_Pin LED_Pin */
  GPIO_InitStruct.Pin = STT_Pin|LED_Pin;
  GPIO_InitStruct.Mode = GPIO_MODE_OUTPUT_PP;
  GPIO_InitStruct.Pull = GPIO_NOPULL;
  GPIO_InitStruct.Speed = GPIO_SPEED_FREQ_LOW;
  HAL_GPIO_Init(GPIOC, &GPIO_InitStruct);

}

void Error_Handler(void)
{
  __disable_irq();
  while (1)
  {
  }
}

/************************ (C) COPYRIGHT STMicroelectronics *****END OF FILE****/
